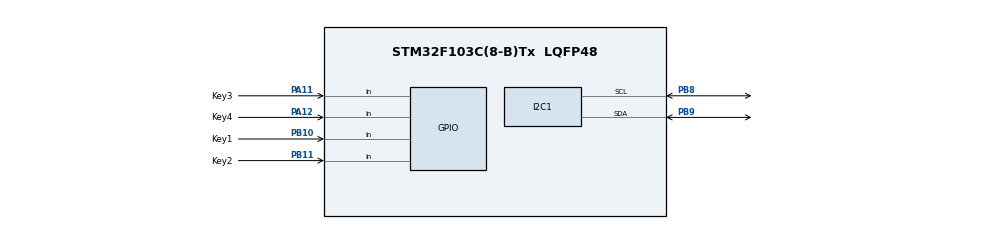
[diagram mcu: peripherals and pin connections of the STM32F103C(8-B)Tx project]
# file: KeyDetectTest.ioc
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FREERTOS.BinarySemaphores01=HoldDetectBinarySem,Dynamic,NULL,Depleted;DbclickStartBinarySem,Dynamic,NULL,Depleted;WaitDbclickBinarySem,Dynamic,NULL,Depleted
FREERTOS.Queues01=KeyStateQueue,16,Key,0,Dynamic,NULL,NULL;DisplayInfoQueue,16,DisplayInfo,0,Dynamic,NULL,NULL
FREERTOS.Tasks01=defaultTask,24,128,StartDefaultTask,Default,NULL,Dynamic,NULL,NULL;KeyClickTask,24,128,StartKeyClickTask,Default,NULL,Dynamic,NULL,NULL;KeyDbclickTask,24,128,StartKeyDbclickTask,Default,NULL,Dynamic,NULL,NULL;KeyHoldTask,24,128,StartKeyHoldTask,Default,NULL,Dynamic,NULL,NULL;DisplayTask,25,128,StartDisplayTask,Default,NULL,Dynamic,NULL,NULL;CopeKeyStateTas,24,128,StartCopeKeyStateTask,Default,NULL,Dynamic,NULL,NULL
FREERTOS.configTOTAL_HEAP_SIZE=5012
FREERTOS.configUSE_NEWLIB_REENTRANT=1
Mcu.Family=STM32F1
Mcu.Name=STM32F103C(8-B)Tx
Mcu.Package=LQFP48
NVIC.PriorityGroup=NVIC_PRIORITYGROUP_4
NVIC.TIM4_IRQn=true\:15\:0\:false\:false\:true\:false\:false\:true\:true
NVIC.TimeBase=TIM4_IRQn
NVIC.TimeBaseIP=TIM4
PA11.GPIO_Label=Key3
PA11.GPIO_PuPd=GPIO_PULLUP
PA11.Signal=GPIO_Input
PA12.GPIO_Label=Key4
PA12.GPIO_PuPd=GPIO_PULLUP
PA12.Signal=GPIO_Input
PA13.Mode=Serial_Wire
PA13.Signal=SYS_JTMS-SWDIO
PA14.Mode=Serial_Wire
PA14.Signal=SYS_JTCK-SWCLK
PB10.GPIO_Label=Key1
PB10.GPIO_PuPd=GPIO_PULLUP
PB10.Signal=GPIO_Input
PB11.GPIO_Label=Key2
PB11.GPIO_PuPd=GPIO_PULLUP
PB11.Signal=GPIO_Input
PB8.Mode=I2C
PB8.Signal=I2C1_SCL
PB9.Mode=I2C
PB9.Signal=I2C1_SDA
PD0-OSC_IN.Mode=HSE-External-Oscillator
PD0-OSC_IN.Signal=RCC_OSC_IN
PD1-OSC_OUT.Mode=HSE-External-Oscillator
PD1-OSC_OUT.Signal=RCC_OSC_OUT
ProjectManager.HeapSize=0x200
ProjectManager.StackSize=0x400
ProjectManager.TargetToolchain=STM32CubeIDE
RCC.APB1Freq_Value=8000000
RCC.APB2Freq_Value=8000000
VP_FREERTOS_VS_CMSIS_V2.Mode=CMSIS_V2
VP_SYS_VS_tim4.Mode=TIM4
board=custom

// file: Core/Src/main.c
/* USER CODE BEGIN Header */
/**
  ******************************************************************************
  * @file           : main.c
  * @brief          : Main program body
  ******************************************************************************
  * @attention
  *
  * Copyright (c) 2025 STMicroelectronics.
  * All rights reserved.
  *
  * This software is licensed under terms that can be found in the LICENSE file
  * in the root directory of this software component.
  * If no LICENSE file comes with this software, it is provided AS-IS.
  *
  ******************************************************************************
  */
/* USER CODE END Header */
#include "main.h"
#include "cmsis_os.h"
#include "i2c.h"
#include "gpio.h"

/* USER CODE BEGIN Includes */
#include "OLED.h"
/* USER CODE END Includes */

void SystemClock_Config(void);
void MX_FREERTOS_Init(void);

int main(void)
{

  /* MCU Configuration--------------------------------------------------------*/

  /* Reset of all peripherals, Initializes the Flash interface and the Systick. */
  HAL_Init();

  /* Configure the system clock */
  SystemClock_Config();

  /* Initialize all configured peripherals */
  MX_GPIO_Init();
  MX_I2C1_Init();
  /* USER CODE BEGIN 2 */
  OLED_init();
  OLED_showChinese(0, 0, "你好世界");
  OLED_updata();
  /* USER CODE END 2 */

  /* Init scheduler */
  osKernelInitialize();

  /* Call init function for freertos objects (in cmsis_os2.c) */
  MX_FREERTOS_Init();

  /* Start scheduler */
  osKernelStart();

  /* We should never get here as control is now taken by the scheduler */

  /* Infinite loop */
  while (1)
  {

  }
}

void SystemClock_Config(void)
{
  RCC_OscInitTypeDef RCC_OscInitStruct = {0};
  RCC_ClkInitTypeDef RCC_ClkInitStruct = {0};

  /** Initializes the RCC Oscillators according to the specified parameters
  * in the RCC_OscInitTypeDef structure.
  */
  RCC_OscInitStruct.OscillatorType = RCC_OSCILLATORTYPE_HSI;
  RCC_OscInitStruct.HSIState = RCC_HSI_ON;
  RCC_OscInitStruct.HSICalibrationValue = RCC_HSICALIBRATION_DEFAULT;
  RCC_OscInitStruct.PLL.PLLState = RCC_PLL_NONE;
  if (HAL_RCC_OscConfig(&RCC_OscInitStruct) != HAL_OK)
  {
    Error_Handler();
  }

  /** Initializes the CPU, AHB and APB buses clocks
  */
  RCC_ClkInitStruct.ClockType = RCC_CLOCKTYPE_HCLK|RCC_CLOCKTYPE_SYSCLK
                              |RCC_CLOCKTYPE_PCLK1|RCC_CLOCKTYPE_PCLK2;
  RCC_ClkInitStruct.SYSCLKSource = RCC_SYSCLKSOURCE_HSI;
  RCC_ClkInitStruct.AHBCLKDivider = RCC_SYSCLK_DIV1;
  RCC_ClkInitStruct.APB1CLKDivider = RCC_HCLK_DIV1;
  RCC_ClkInitStruct.APB2CLKDivider = RCC_HCLK_DIV1;

  if (HAL_RCC_ClockConfig(&RCC_ClkInitStruct, FLASH_LATENCY_0) != HAL_OK)
  {
    Error_Handler();
  }
}

void HAL_TIM_PeriodElapsedCallback(TIM_HandleTypeDef *htim)
{
  if (htim->Instance == TIM4) {
    HAL_IncTick();
  }
}

void Error_Handler(void)
{
  __disable_irq();
  while (1)
  {
  }
}

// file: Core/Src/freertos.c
/* USER CODE BEGIN Header */
/**
  ******************************************************************************
  * File Name          : freertos.c
  * Description        : Code for freertos applications
  ******************************************************************************
  * @attention
  *
  * Copyright (c) 2025 STMicroelectronics.
  * All rights reserved.
  *
  * This software is licensed under terms that can be found in the LICENSE file
  * in the root directory of this software component.
  * If no LICENSE file comes with this software, it is provided AS-IS.
  *
  ******************************************************************************
  */
/* USER CODE END Header */

#include "FreeRTOS.h"
#include "task.h"
#include "main.h"
#include "cmsis_os.h"

/* USER CODE BEGIN Includes */
#include "OLED.h"
/* USER CODE END Includes */

/* USER CODE BEGIN PD */
#define KEY_TRIG_STATE 0
#define KEY_RETRIG_STATE 1
/* USER CODE END PD */

/* USER CODE BEGIN Variables */
typedef struct{
	uint8_t KeyState;
	uint8_t ClickFlag;
	uint8_t DbclickFlag;
	uint8_t HoldFlag;
	uint8_t IgnoreClickFlag;
	uint8_t HoldCount;

//	DisplayInfo DisplayInfo;
}Key;
enum{
	KeyRelease=0,
	KeyClick,
	KeyDbclick,
	KeyHold
}KeyState;

typedef struct{
	uint8_t language;
	uint8_t Page;
	uint8_t X;
	char *String;
	uint8_t fontSize;
}DisplayInfo;
enum{
	zh=0,
	en
}language;

Key k1, k2, k3, k4;
/* USER CODE END Variables */
/* Definitions for defaultTask */
osThreadId_t defaultTaskHandle;
const osThreadAttr_t defaultTask_attributes = {
  .name = "defaultTask",
  .stack_size = 128 * 4,
  .priority = (osPriority_t) osPriorityNormal,
};
/* Definitions for KeyClickTask */
osThreadId_t KeyClickTaskHandle;
const osThreadAttr_t KeyClickTask_attributes = {
  .name = "KeyClickTask",
  .stack_size = 128 * 4,
  .priority = (osPriority_t) osPriorityNormal,
};
/* Definitions for KeyDbclickTask */
osThreadId_t KeyDbclickTaskHandle;
const osThreadAttr_t KeyDbclickTask_attributes = {
  .name = "KeyDbclickTask",
  .stack_size = 128 * 4,
  .priority = (osPriority_t) osPriorityNormal,
};
/* Definitions for KeyHoldTask */
osThreadId_t KeyHoldTaskHandle;
const osThreadAttr_t KeyHoldTask_attributes = {
  .name = "KeyHoldTask",
  .stack_size = 128 * 4,
  .priority = (osPriority_t) osPriorityNormal,
};
/* Definitions for DisplayTask */
osThreadId_t DisplayTaskHandle;
const osThreadAttr_t DisplayTask_attributes = {
  .name = "DisplayTask",
  .stack_size = 128 * 4,
  .priority = (osPriority_t) osPriorityNormal1,
};
/* Definitions for CopeKeyStateTas */
osThreadId_t CopeKeyStateTasHandle;
const osThreadAttr_t CopeKeyStateTas_attributes = {
  .name = "CopeKeyStateTas",
  .stack_size = 128 * 4,
  .priority = (osPriority_t) osPriorityNormal,
};
/* Definitions for KeyStateQueue */
osMessageQueueId_t KeyStateQueueHandle;
const osMessageQueueAttr_t KeyStateQueue_attributes = {
  .name = "KeyStateQueue"
};
/* Definitions for DisplayInfoQueue */
osMessageQueueId_t DisplayInfoQueueHandle;
const osMessageQueueAttr_t DisplayInfoQueue_attributes = {
  .name = "DisplayInfoQueue"
};
/* Definitions for HoldDetectBinarySem */
osSemaphoreId_t HoldDetectBinarySemHandle;
const osSemaphoreAttr_t HoldDetectBinarySem_attributes = {
  .name = "HoldDetectBinarySem"
};
/* Definitions for DbclickStartBinarySem */
osSemaphoreId_t DbclickStartBinarySemHandle;
const osSemaphoreAttr_t DbclickStartBinarySem_attributes = {
  .name = "DbclickStartBinarySem"
};
/* Definitions for WaitDbclickBinarySem */
osSemaphoreId_t WaitDbclickBinarySemHandle;
const osSemaphoreAttr_t WaitDbclickBinarySem_attributes = {
  .name = "WaitDbclickBinarySem"
};

void StartDefaultTask(void *argument);
void StartKeyClickTask(void *argument);
void StartKeyDbclickTask(void *argument);
void StartKeyHoldTask(void *argument);
void StartDisplayTask(void *argument);
void StartCopeKeyStateTask(void *argument);

void MX_FREERTOS_Init(void); /* (MISRA C 2004 rule 8.1) */

void MX_FREERTOS_Init(void) {

  /* Create the semaphores(s) */
  /* creation of HoldDetectBinarySem */
  HoldDetectBinarySemHandle = osSemaphoreNew(1, 0, &HoldDetectBinarySem_attributes);

  /* creation of DbclickStartBinarySem */
  DbclickStartBinarySemHandle = osSemaphoreNew(1, 0, &DbclickStartBinarySem_attributes);

  /* creation of WaitDbclickBinarySem */
  WaitDbclickBinarySemHandle = osSemaphoreNew(1, 0, &WaitDbclickBinarySem_attributes);

  /* Create the queue(s) */
  /* creation of KeyStateQueue */
  KeyStateQueueHandle = osMessageQueueNew (16, sizeof(Key), &KeyStateQueue_attributes);

  /* creation of DisplayInfoQueue */
  DisplayInfoQueueHandle = osMessageQueueNew (16, sizeof(DisplayInfo), &DisplayInfoQueue_attributes);

  /* Create the thread(s) */
  /* creation of defaultTask */
  defaultTaskHandle = osThreadNew(StartDefaultTask, NULL, &defaultTask_attributes);

  /* creation of KeyClickTask */
  KeyClickTaskHandle = osThreadNew(StartKeyClickTask, NULL, &KeyClickTask_attributes);

  /* creation of KeyDbclickTask */
  KeyDbclickTaskHandle = osThreadNew(StartKeyDbclickTask, NULL, &KeyDbclickTask_attributes);

  /* creation of KeyHoldTask */
  KeyHoldTaskHandle = osThreadNew(StartKeyHoldTask, NULL, &KeyHoldTask_attributes);

  /* creation of DisplayTask */
  DisplayTaskHandle = osThreadNew(StartDisplayTask, NULL, &DisplayTask_attributes);

  /* creation of CopeKeyStateTas */
  CopeKeyStateTasHandle = osThreadNew(StartCopeKeyStateTask, NULL, &CopeKeyStateTas_attributes);

}

void StartDefaultTask(void *argument)
{
  for(;;)
  {
    osDelay(1);
  }
}

void StartKeyClickTask(void *argument)
{
  /* USER CODE BEGIN StartKeyClickTask */
	uint8_t KeyStateLastTime=0;
	uint8_t KeyStateRealTime=0;
	uint8_t keyTrigState=0;
  /* Infinite loop */
  for(;;)
  {
	  KeyStateRealTime=0;
	  if(HAL_GPIO_ReadPin(Key1_GPIO_Port, Key1_Pin)==KEY_TRIG_STATE){KeyStateRealTime|=0X01;}
	  if(HAL_GPIO_ReadPin(Key2_GPIO_Port, Key2_Pin)==KEY_TRIG_STATE){KeyStateRealTime|=0X02;}
	  if(HAL_GPIO_ReadPin(Key3_GPIO_Port, Key3_Pin)==KEY_TRIG_STATE){KeyStateRealTime|=0X04;}
	  if(HAL_GPIO_ReadPin(Key4_GPIO_Port, Key4_Pin)==KEY_TRIG_STATE){KeyStateRealTime|=0X08;}

	  if(KeyStateRealTime!=KeyStateLastTime)
	  {
		  for (int i = 0; i < 4; ++i)
		  {
			  if((KeyStateRealTime&(0x01<<i))==0 && (KeyStateLastTime&(0x01<<i))==(0x01<<i))
			  {
				  keyTrigState|=(0x01<<i);
			  }
		  }
	  }

	if (keyTrigState!=0)
	{

		if((keyTrigState&0x01)==0x01)
		{
			k1.ClickFlag=1;
		}
		if((keyTrigState&0x02)==0x02)
		{
			k2.ClickFlag=1;
		}
		if((keyTrigState&0x04)==0x04)
		{
			k3.ClickFlag=1;
		}
		if((keyTrigState&0x08)==0x08)
		{
			k4.ClickFlag=1;
		}
		keyTrigState=0;
		osSemaphoreRelease(DbclickStartBinarySemHandle);
	}
	  osDelay(20);

	  KeyStateLastTime=KeyStateRealTime;
  }
  /* USER CODE END StartKeyClickTask */
}

void StartKeyDbclickTask(void *argument)
{
  /* USER CODE BEGIN StartKeyDbclickTask */
	uint8_t KeyStateLastTime=0;
	uint8_t KeyStateRealTime=0;
	uint8_t keyTrigState=0;
  /* Infinite loop */
	for(;;)
	{
		osSemaphoreAcquire(DbclickStartBinarySemHandle, osWaitForever);
		for(uint8_t i=0; i<30; ++i)
		{

			KeyStateRealTime=0;
			if(HAL_GPIO_ReadPin(Key1_GPIO_Port, Key1_Pin)==KEY_TRIG_STATE && k1.ClickFlag==1){KeyStateRealTime|=0X01;}
			if(HAL_GPIO_ReadPin(Key2_GPIO_Port, Key2_Pin)==KEY_TRIG_STATE && k2.ClickFlag==1){KeyStateRealTime|=0X02;}
			if(HAL_GPIO_ReadPin(Key3_GPIO_Port, Key3_Pin)==KEY_TRIG_STATE && k3.ClickFlag==1){KeyStateRealTime|=0X04;}
			if(HAL_GPIO_ReadPin(Key4_GPIO_Port, Key4_Pin)==KEY_TRIG_STATE && k4.ClickFlag==1){KeyStateRealTime|=0X08;}

			if(KeyStateRealTime!=KeyStateLastTime)
			{

				for (int i = 0; i < 4; ++i)
				{
					if((KeyStateRealTime&(0x01<<i))==0 && (KeyStateLastTime&(0x01<<i))==(0x01<<i))
					{
						keyTrigState|=(0x01<<i);
					}
				}
			}

			if (keyTrigState!=0)
			{
				if((keyTrigState&0x01)==0x01)
				{
					k1.DbclickFlag=1;
				}
				if((keyTrigState&0x02)==0x02)
				{
					k2.DbclickFlag=1;
				}
				if((keyTrigState&0x04)==0x04)
				{
					k3.DbclickFlag=1;
				}
				if((keyTrigState&0x08)==0x08)
				{
					k4.DbclickFlag=1;
				}
				keyTrigState=0;
				osSemaphoreRelease(DbclickStartBinarySemHandle);
				osSemaphoreRelease(WaitDbclickBinarySemHandle);
//				break;
			}
			KeyStateLastTime=KeyStateRealTime;
			osDelay(20);
		}

	}

  /* USER CODE END StartKeyDbclickTask */
}

void StartKeyHoldTask(void *argument)
{
  /* USER CODE BEGIN StartKeyHoldTask */
	uint8_t i;
  /* Infinite loop */
	for(;;)
	{
		for(i=0; i<10; ++i)
		{
			if(HAL_GPIO_ReadPin(Key1_GPIO_Port, Key1_Pin)==KEY_TRIG_STATE){k1.HoldCount++;}
			if(HAL_GPIO_ReadPin(Key2_GPIO_Port, Key2_Pin)==KEY_TRIG_STATE){k2.HoldCount++;}
			if(HAL_GPIO_ReadPin(Key3_GPIO_Port, Key3_Pin)==KEY_TRIG_STATE){k3.HoldCount++;}
			if(HAL_GPIO_ReadPin(Key4_GPIO_Port, Key4_Pin)==KEY_TRIG_STATE){k4.HoldCount++;}

			osDelay(100);
		}
		if(k1.HoldCount>=8){k1.HoldFlag=1;k1.IgnoreClickFlag=1;osSemaphoreRelease(HoldDetectBinarySemHandle);}
		if(k2.HoldCount>=8){k2.HoldFlag=1;k2.IgnoreClickFlag=1;osSemaphoreRelease(HoldDetectBinarySemHandle);}
		if(k3.HoldCount>=8){k3.HoldFlag=1;k3.IgnoreClickFlag=1;osSemaphoreRelease(HoldDetectBinarySemHandle);}
		if(k4.HoldCount>=8){k4.HoldFlag=1;k4.IgnoreClickFlag=1;osSemaphoreRelease(HoldDetectBinarySemHandle);}
		if(k1.HoldCount<=7){k1.IgnoreClickFlag=0;}
		if(k2.HoldCount<=7){k2.IgnoreClickFlag=0;}
		if(k3.HoldCount<=7){k3.IgnoreClickFlag=0;}
		if(k4.HoldCount<=7){k4.IgnoreClickFlag=0;}
		k1.HoldCount=k2.HoldCount=k3.HoldCount=k4.HoldCount=0;
	}
  /* USER CODE END StartKeyHoldTask */
}

void StartDisplayTask(void *argument)
{
  /* USER CODE BEGIN StartDisplayTask */
	DisplayInfo ReceivedInfo;
  /* Infinite loop */
  for(;;)
  {
	  osMessageQueueGet (DisplayInfoQueueHandle, &ReceivedInfo, NULL, osWaitForever);
	  if(ReceivedInfo.language==zh)
	  {OLED_showChinese(ReceivedInfo.Page, ReceivedInfo.X, ReceivedInfo.String);}
	  if(ReceivedInfo.language==en)
	  {OLED_showString(ReceivedInfo.Page, ReceivedInfo.X, ReceivedInfo.String, ReceivedInfo.fontSize);}
	  OLED_updata();
  }
  /* USER CODE END StartDisplayTask */
}

void StartCopeKeyStateTask(void *argument)
{
  /* USER CODE BEGIN StartCopeKeyStateTask */
	DisplayInfo InfoOfKey;
	osStatus_t state;

  /* Infinite loop */
  for(;;)
  {
	  state=osSemaphoreAcquire(HoldDetectBinarySemHandle, 0);
	  if(state==osOK)
	  {
		  if(k1.HoldFlag==1)
		  {
			  InfoOfKey.language=zh;InfoOfKey.Page=0;InfoOfKey.X=0;InfoOfKey.String="键一长按";InfoOfKey.fontSize=8;
			  osMessageQueuePut (DisplayInfoQueueHandle, &InfoOfKey, 0, osWaitForever);
			  k1.HoldFlag=0;
		  }
		  if(k2.HoldFlag==1)
		  {
			  InfoOfKey.language=zh;InfoOfKey.Page=0;InfoOfKey.X=0;InfoOfKey.String="键二长按";InfoOfKey.fontSize=8;
			  osMessageQueuePut (DisplayInfoQueueHandle, &InfoOfKey, 0, osWaitForever);
			  k2.HoldFlag=0;
		  }
		  if(k3.HoldFlag==1)
		  {
			  InfoOfKey.language=zh;InfoOfKey.Page=0;InfoOfKey.X=0;InfoOfKey.String="键三长按";InfoOfKey.fontSize=8;
			  osMessageQueuePut (DisplayInfoQueueHandle, &InfoOfKey, 0, osWaitForever);
			  k3.HoldFlag=0;
		  }
		  if(k4.HoldFlag==1)
		  {
			  InfoOfKey.language=zh;InfoOfKey.Page=0;InfoOfKey.X=0;InfoOfKey.String="键四长按";InfoOfKey.fontSize=8;
			  osMessageQueuePut (DisplayInfoQueueHandle, &InfoOfKey, 0, osWaitForever);
			  k4.HoldFlag=0;
		  }
	  }
	  state=osSemaphoreAcquire(DbclickStartBinarySemHandle, 0);
//	  if(state==osOK)
	  {
		  state=osSemaphoreAcquire(WaitDbclickBinarySemHandle, 600);//双击超时时长
		  if(state==osErrorTimeout)
		  {
			  k1.DbclickFlag=k2.DbclickFlag=k3.DbclickFlag=k4.DbclickFlag=0;
			  if(k1.ClickFlag==1 && k1.IgnoreClickFlag==0)
			  {
				  InfoOfKey.language=zh;InfoOfKey.Page=0;InfoOfKey.X=0;InfoOfKey.String="键一单击";InfoOfKey.fontSize=8;
				  osMessageQueuePut (DisplayInfoQueueHandle, &InfoOfKey, 0, osWaitForever);
				  k1.ClickFlag=0;
			  }
			  if(k1.IgnoreClickFlag==1){k1.ClickFlag=0;}

			  if(k2.ClickFlag==1 && k2.IgnoreClickFlag==0)
			  {
				  InfoOfKey.language=zh;InfoOfKey.Page=0;InfoOfKey.X=0;InfoOfKey.String="键二单击";InfoOfKey.fontSize=8;
				  osMessageQueuePut (DisplayInfoQueueHandle, &InfoOfKey, 0, osWaitForever);
				  k2.ClickFlag=0;
			  }
			  if(k2.IgnoreClickFlag==1){k2.ClickFlag=0;}

			  if(k3.ClickFlag==1 && k3.IgnoreClickFlag==0)
			  {
				  InfoOfKey.language=zh;InfoOfKey.Page=0;InfoOfKey.X=0;InfoOfKey.String="键三单击";InfoOfKey.fontSize=8;
				  osMessageQueuePut (DisplayInfoQueueHandle, &InfoOfKey, 0, osWaitForever);
				  k3.ClickFlag=0;
			  }
			  if(k3.IgnoreClickFlag==1){k3.ClickFlag=0;}

			  if(k4.ClickFlag==1 && k4.IgnoreClickFlag==0)
			  {
				  InfoOfKey.language=zh;InfoOfKey.Page=0;InfoOfKey.X=0;InfoOfKey.String="键四单击";InfoOfKey.fontSize=8;
				  osMessageQueuePut (DisplayInfoQueueHandle, &InfoOfKey, 0, osWaitForever);
				  k4.ClickFlag=0;
			  }
			  if(k4.IgnoreClickFlag==1){k4.ClickFlag=0;}
		  }
//		  if(state==osOK)
		  {
			  if(k1.DbclickFlag==1)
			  {
				  InfoOfKey.language=zh;InfoOfKey.Page=0;InfoOfKey.X=0;InfoOfKey.String="键一双击";InfoOfKey.fontSize=8;
				  osMessageQueuePut (DisplayInfoQueueHandle, &InfoOfKey, 0, osWaitForever);
				  k1.ClickFlag=0;
				  k1.DbclickFlag=0;
			  }
			  if(k2.DbclickFlag==1)
			  {
				  InfoOfKey.language=zh;InfoOfKey.Page=0;InfoOfKey.X=0;InfoOfKey.String="键二双击";InfoOfKey.fontSize=8;
				  osMessageQueuePut (DisplayInfoQueueHandle, &InfoOfKey, 0, osWaitForever);
				  k2.ClickFlag=0;
				  k2.DbclickFlag=0;
			  }
			  if(k3.DbclickFlag==1)
			  {
				  InfoOfKey.language=zh;InfoOfKey.Page=0;InfoOfKey.X=0;InfoOfKey.String="键三双击";InfoOfKey.fontSize=8;
				  osMessageQueuePut (DisplayInfoQueueHandle, &InfoOfKey, 0, osWaitForever);
				  k3.ClickFlag=0;
				  k3.DbclickFlag=0;
			  }
			  if(k4.DbclickFlag==1)
			  {
				  InfoOfKey.language=zh;InfoOfKey.Page=0;InfoOfKey.X=0;InfoOfKey.String="键四双击";InfoOfKey.fontSize=8;
				  osMessageQueuePut (DisplayInfoQueueHandle, &InfoOfKey, 0, osWaitForever);
				  k4.ClickFlag=0;
				  k4.DbclickFlag=0;
			  }
		  }
	  }
  }
  /* USER CODE END StartCopeKeyStateTask */
}
